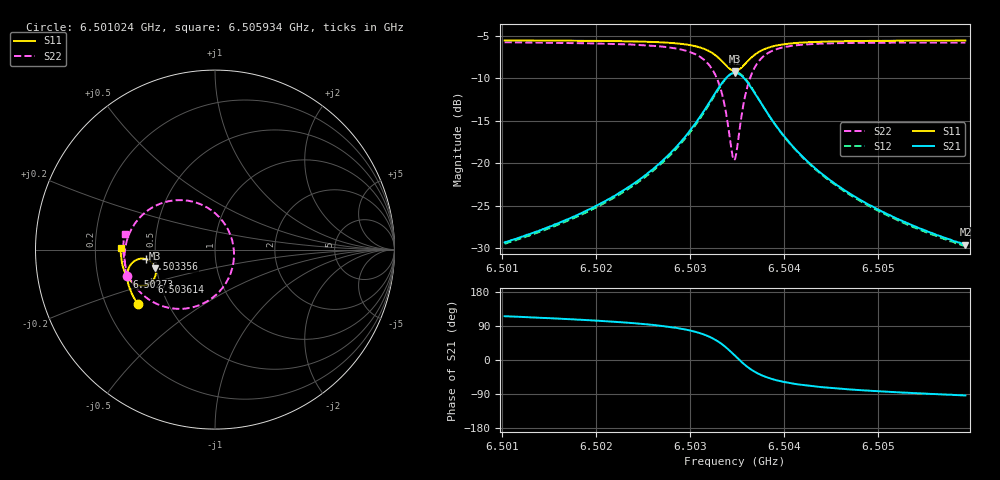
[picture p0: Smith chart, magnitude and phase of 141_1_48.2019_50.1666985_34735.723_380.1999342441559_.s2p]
#  HZ  S  RI  R  50.00
! Rohde & Schwarz Vector Network Analyzer
! Rohde-Schwarz,ZNB20-2Port,1311601062101988,3.16
! Created: UTC 3/20/2024, 11:42:18 AM
! freq[Hz]  re:S11  im:S11  re:S21  im:S21  re:S12  im:S12  re:S22  im:S22
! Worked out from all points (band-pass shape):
!   401 points, 6.501024 GHz to 6.505934 GHz, reference 50 ohm
!   highest |S21| = -9.38 dB at 6.503479 GHz (marker M1); lowest = -29.5 dB at 6.505934 GHz (marker M2)
!   |S21| within 3 dB of the highest: 6.503233 GHz to 6.503724 GHz (490.9 kHz wide, 0.00755 % of centre)
!   lowest |S11| = -9.2 dB at 6.503479 GHz (marker M3), VSWR 2.07, Z = 24.6 - j5.82 ohm
!   |S11| at or under -10 dB: nowhere
!   |S22| runs from -19.6 to -5.8 dB; largest |S21 - S12| = 0.012
!   S11 on the Smith chart (normalised r, x): 6.501024 GHz: 0.34, -0.28; 6.50273 GHz: 0.33, -0.14; 6.503356 GHz: 0.44, -0.05; 6.503614 GHz: 0.45, -0.19; 6.505934 GHz: 0.31, +0.01
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6.5010244e9  -0.4296 -0.3043  -0.0148 0.031  -0.0131 0.0311  -0.4922 -0.1467
6.5018466e9  -0.4644 -0.2428  -0.0141 0.0491  -0.0116 0.0487  -0.5042 -0.0577
6.5023007e9  -0.4801 -0.202  -0.0109 0.0691  -0.00785 0.0678  -0.5002 0.00836
6.5026689e9  -0.4884 -0.1606  -0.00146 0.0991  0.00219 0.0968  -0.4794 0.0841
6.5027303e9  -0.4889 -0.1523  0.00178 0.1064  0.00557 0.1038  -0.4721 0.1003
6.5029512e9  -0.4854 -0.1172  0.0238 0.1419  0.0277 0.1376  -0.4257 0.1713
6.5031108e9  -0.4707 -0.085  0.0635 0.178  0.0663 0.1722  -0.3486 0.2349
6.503258e9  -0.4328 -0.0553  0.1456 0.2067  0.1463 0.2005  -0.1988 0.2757
6.5033562e9  -0.3862 -0.0525  0.2374 0.1901  0.2375 0.1849  -0.0398 0.2322
6.5034421e9  -0.3432 -0.0818  0.3156 0.1149  0.3181 0.1104  0.0851 0.084
6.5034667e9  -0.3354 -0.0961  0.329 0.0829  0.3321 0.0777  0.1017 0.0237
6.5034789e9  -0.3325 -0.1039  0.3332 0.0661  0.3366 0.0602  0.1054 -0.00799
6.5035035e9  -0.3295 -0.1203  0.3366 0.0313  0.3403 0.0242  0.1029 -0.0716
6.5035403e9  -0.3317 -0.1444  0.329 -0.019  0.3324 -0.0281  0.0749 -0.1608
6.5036139e9  -0.3541 -0.1813  0.2822 -0.0955  0.2819 -0.107  -0.0357 -0.2838
6.5037121e9  -0.395 -0.2007  0.2038 -0.1388  0.1987 -0.1489  -0.1956 -0.3301
6.5038717e9  -0.4443 -0.1931  0.1156 -0.1381  0.1084 -0.1436  -0.3559 -0.2859
6.5040435e9  -0.4734 -0.1719  0.0677 -0.1172  0.0612 -0.1196  -0.4341 -0.2185
6.5043012e9  -0.4958 -0.1407  0.0346 -0.0905  0.0297 -0.091  -0.4818 -0.1404
6.5046571e9  -0.511 -0.1029  0.0157 -0.0671  0.0123 -0.0667  -0.5041 -0.0667
6.5051235e9  -0.5209 -0.0592  0.00517 -0.0494  0.00281 -0.0487  -0.5109 0.00125
6.5059335e9  -0.5259 0.00972  -0.00207 -0.0333  -0.00341 -0.0324  -0.5033 0.0885
